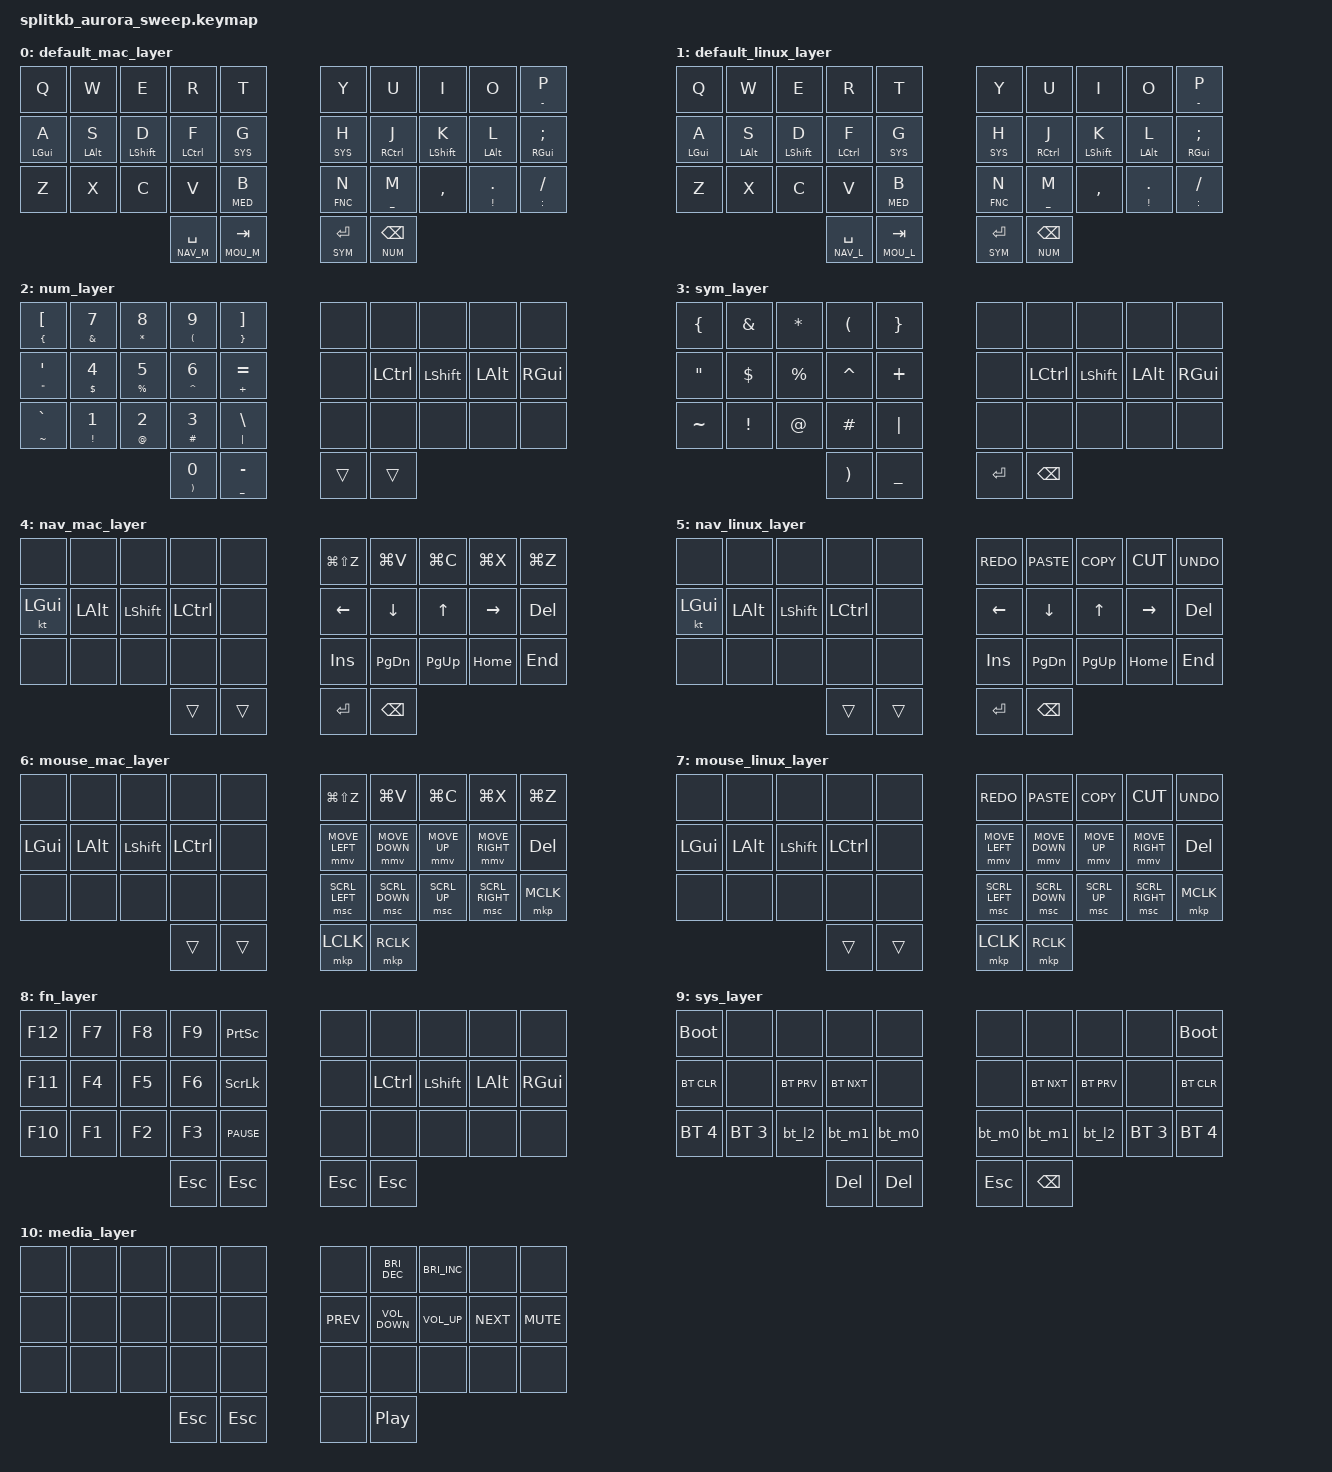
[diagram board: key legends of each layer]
/*
 * Copyright (c) 2022 The ZMK Contributors
 *
 * SPDX-License-Identifier: MIT
 */

#include <behaviors.dtsi>
#include <dt-bindings/zmk/bt.h>
#include <dt-bindings/zmk/keys.h>
#include <dt-bindings/zmk/outputs.h>

#define ZMK_POINTING_DEFAULT_MOVE_VAL 5000

#include <dt-bindings/zmk/pointing.h>

#define DEF_M 0
#define DEF_L 1
#define NUM   2
#define SYM   3
#define NAV_M 4
#define NAV_L 5
#define MOU_M 6
#define MOU_L 7
#define FNC   8
#define SYS   9
#define MED   10

&mt {
    flavor = "tap-preferred";
    quick-tap-ms = <180>;
};

&lt { quick-tap-ms = <200>; };

&mmv {
    trigger-period-ms = <10>;
    acceleration-exponent = <2>;   // 0 uniform, 1 linear, 2 quadratic
    time-to-max-speed-ms = <800>;
    delay-ms = <0>;
};

&msc {
    acceleration-exponent = <1>;      // 0
    time-to-max-speed-ms = <40>;      // 500
    delay-ms = <0>;                   // 10
};

/ {
    macros {
        bt_m0: bt_m0 {
            compatible = "zmk,behavior-macro";
            #binding-cells = <0>;
            bindings = <&bt BT_SEL 0>, <&to DEF_M>;
        };
        bt_m1: bt_m1 {
            compatible = "zmk,behavior-macro";
            #binding-cells = <0>;
            bindings = <&bt BT_SEL 1>, <&to DEF_M>;
        };
        bt_l2: bt_l2 {
            compatible = "zmk,behavior-macro";
            #binding-cells = <0>;
            bindings = <&bt BT_SEL 2>, <&to DEF_L>;
        };
    };

    behaviors {
        lt_thumb: layer_tap_thumb {
            compatible = "zmk,behavior-hold-tap";
            label = "LAYER_TAP_THUMB";
            #binding-cells = <2>;
            flavor = "tap-preferred";
            tapping-term-ms = <200>;
            bindings = <&mo>, <&kp>;
        };
    };

    combos {
        compatible = "zmk,combos";

        combo_esc {
            timeout-ms = <50>;
            key-positions = <10 19>;
            bindings = <&kp ESC>;
        };

        esc_left {
            bindings = <&kp ESC>;
            key-positions = <1 2>;
            timeout-ms = <15>;
        };

        esc_right {
            bindings = <&kp ESC>;
            key-positions = <6 7>;
            timeout-ms = <15>;
        };

        colon {
            bindings = <&kp COLON>;
            key-positions = <7 8>;
            timeout-ms = <15>;
        };

        // Mac Combos
        copy_m {
            bindings = <&kp LG(C)>;
            key-positions = <21 22>;
            timeout-ms = <15>;
            layers = <DEF_M NAV_M MOU_M>;
        };
        paste_m {
            bindings = <&kp LG(V)>;
            key-positions = <22 23>;
            timeout-ms = <15>;
            layers = <DEF_M NAV_M MOU_M>;
        };
        cut_m {
            bindings = <&kp LG(X)>;
            key-positions = <20 21>;
            timeout-ms = <15>;
            layers = <DEF_M NAV_M MOU_M>;
        };

        // Linux Combos (Using dedicated K_ keycodes)
        copy_l {
            bindings = <&kp K_COPY>;
            key-positions = <21 22>;
            timeout-ms = <15>;
            layers = <DEF_L NAV_L MOU_L>;
        };
        paste_l {
            bindings = <&kp K_PASTE>;
            key-positions = <22 23>;
            timeout-ms = <15>;
            layers = <DEF_L NAV_L MOU_L>;
        };
        cut_l {
            bindings = <&kp K_CUT>;
            key-positions = <20 21>;
            timeout-ms = <15>;
            layers = <DEF_L NAV_L MOU_L>;
        };

        // Mac Language Switch (Ctrl+Shift+Space for Hammerspoon)
        lang_switch_mac {
            bindings = <&kp LC(LS(SPC))>;
            key-positions = <5 6>;
            timeout-ms = <15>;
            layers = <DEF_M NAV_M MOU_M>;
        };

        // Linux Language Switch (RCtrl+RShift)
        lang_switch_linux {
            bindings = <&kp RS(RCTRL)>;
            key-positions = <5 6>;
            timeout-ms = <15>;
            layers = <DEF_L NAV_L MOU_L>;
        };

        caps {
            bindings = <&kp CAPSLOCK>;
            key-positions = <12 17>;
        };
    };

    keymap {
        compatible = "zmk,keymap";

        default_mac_layer {
            bindings = <
&kp Q        &kp W           &kp E         &kp R        &kp T      &kp Y    &kp U             &kp I         &kp O                   &mt MINUS P
&mt LGUI A   &mt LEFT_ALT S  &mt LSHIFT D  &mt LCTRL F  &lt SYS G  &lt SYS H  &mt RCTRL J       &mt LSHIFT K  &mt LEFT_ALT L          &mt RGUI SEMICOLON
&kp Z        &kp X           &kp C         &kp V        &lt MED B  &lt FNC N  &mt UNDERSCORE M  &kp COMMA     &mt EXCLAMATION PERIOD  &mt COLON SLASH
&lt NAV_M SPACE  &lt_thumb MOU_M TAB                                                                              &lt SYM ENTER             &lt NUM BACKSPACE
            >;
        };

        default_linux_layer {
            bindings = <
&kp Q        &kp W           &kp E         &kp R        &kp T      &kp Y    &kp U             &kp I         &kp O                   &mt MINUS P
&mt LGUI A   &mt LEFT_ALT S  &mt LSHIFT D  &mt LCTRL F  &lt SYS G  &lt SYS H  &mt RCTRL J       &mt LSHIFT K  &mt LEFT_ALT L          &mt RGUI SEMICOLON
&kp Z        &kp X           &kp C         &kp V        &lt MED B  &lt FNC N  &mt UNDERSCORE M  &kp COMMA     &mt EXCLAMATION PERIOD  &mt COLON SLASH
&lt NAV_L SPACE  &lt_thumb MOU_L TAB                                                                              &lt SYM ENTER             &lt NUM BACKSPACE
            >;
        };

        num_layer {
            bindings = <
&mt LEFT_BRACE LEFT_BRACKET     &mt AMPERSAND N7          &mt ASTERISK N8       &mt LEFT_PARENTHESIS N9  &mt RIGHT_BRACE RIGHT_BRACKET    &none  &none      &none       &none         &none
&mt DOUBLE_QUOTES SINGLE_QUOTE  &mt DOLLAR NUMBER_4       &mt PERCENT N5        &mt CARET NUMBER_6       &mt PLUS EQUAL                   &none  &kp LCTRL  &kp LSHIFT  &kp LEFT_ALT  &kp RGUI
&mt TILDE GRAVE                 &mt EXCLAMATION NUMBER_1  &mt AT_SIGN NUMBER_2  &mt HASH NUMBER_3        &mt PIPE BACKSLASH               &none  &none      &none       &none         &none
&mt RIGHT_PARENTHESIS N0        &mt UNDERSCORE MINUS                                                                                                                    &trans        &trans
            >;
        };

        sym_layer {
            bindings = <
&kp LEFT_BRACE         &kp AMPERSAND    &kp ASTERISK  &kp LEFT_PARENTHESIS  &kp RIGHT_BRACE    &none  &none      &none       &none      &none
&kp DOUBLE_QUOTES      &kp DOLLAR       &kp PERCENT   &kp CARET             &kp PLUS           &none  &kp LCTRL  &kp LSHIFT  &kp LALT   &kp RGUI
&kp TILDE              &kp EXCLAMATION  &kp AT_SIGN   &kp HASH              &kp PIPE           &none  &none      &none       &none      &none
&kp RIGHT_PARENTHESIS  &kp UNDERSCORE                                                                                        &kp ENTER  &kp BSPC
            >;
        };

        nav_mac_layer {
            bindings = <
&none     &none         &none       &none      &none    &kp LG(LS(Z))  &kp LG(V)      &kp LG(C)     &kp LG(X)  &kp LG(Z)
&kt LGUI  &kp LEFT_ALT  &kp LSHIFT  &kp LCTRL  &none    &kp LEFT       &kp DOWN       &kp UP_ARROW  &kp RIGHT  &kp DELETE
&none     &none         &none       &none      &none    &kp INSERT     &kp PAGE_DOWN  &kp PAGE_UP   &kp HOME   &kp END
&trans    &trans                                                                                    &kp ENTER  &kp BACKSPACE
            >;
        };

        nav_linux_layer {
            bindings = <
&none     &none         &none       &none      &none    &kp K_REDO  &kp K_PASTE    &kp K_COPY    &kp K_CUT  &kp K_UNDO
&kt LGUI  &kp LEFT_ALT  &kp LSHIFT  &kp LCTRL  &none    &kp LEFT    &kp DOWN       &kp UP_ARROW  &kp RIGHT  &kp DELETE
&none     &none         &none       &none      &none    &kp INSERT  &kp PAGE_DOWN  &kp PAGE_UP   &kp HOME   &kp END
&trans    &trans                                                                                    &kp ENTER  &kp BACKSPACE
            >;
        };

        mouse_mac_layer {
            bindings = <
&none     &none         &none       &none      &none    &kp LG(LS(Z))   &kp LG(V)       &kp LG(C)     &kp LG(X)        &kp LG(Z)
&kp LGUI  &kp LEFT_ALT  &kp LSHIFT  &kp LCTRL  &none    &mmv MOVE_LEFT  &mmv MOVE_DOWN  &mmv MOVE_UP  &mmv MOVE_RIGHT  &kp DELETE
&none     &none         &none       &none      &none    &msc SCRL_LEFT  &msc SCRL_DOWN  &msc SCRL_UP  &msc SCRL_RIGHT  &mkp MCLK
&trans    &trans                                                                                      &mkp LCLK        &mkp RCLK
            >;
        };

        mouse_linux_layer {
            bindings = <
&none     &none         &none       &none      &none    &kp K_REDO      &kp K_PASTE     &kp K_COPY    &kp K_CUT        &kp K_UNDO
&kp LGUI  &kp LEFT_ALT  &kp LSHIFT  &kp LCTRL  &none    &mmv MOVE_LEFT  &mmv MOVE_DOWN  &mmv MOVE_UP  &mmv MOVE_RIGHT  &kp DELETE
&none     &none         &none       &none      &none    &msc SCRL_LEFT  &msc SCRL_DOWN  &msc SCRL_UP  &msc SCRL_RIGHT  &mkp MCLK
&trans    &trans                                                                                      &mkp LCLK        &mkp RCLK
            >;
        };

        fn_layer {
            bindings = <
&kp F12     &kp F7      &kp F8  &kp F9  &kp PRINTSCREEN    &none  &none      &none       &none         &none
&kp F11     &kp F4      &kp F5  &kp F6  &kp SCROLLLOCK     &none  &kp LCTRL  &kp LSHIFT  &kp LEFT_ALT  &kp RGUI
&kp F10     &kp F1      &kp F2  &kp F3  &kp C_PAUSE        &none  &none      &none       &none         &none
&kp ESCAPE  &kp ESCAPE                                                                   &kp ESCAPE    &kp ESCAPE
            >;
        };

        sys_layer {
            bindings = <
&bootloader   &none         &none         &none         &none           &none         &none         &none         &none         &bootloader
&bt BT_CLR    &none         &bt BT_PRV    &bt BT_NXT    &none           &none         &bt BT_NXT    &bt BT_PRV    &none         &bt BT_CLR
&bt BT_SEL 4  &bt BT_SEL 3  &bt_l2        &bt_m1        &bt_m0          &bt_m0        &bt_m1        &bt_l2        &bt BT_SEL 3  &bt BT_SEL 4
&kp DELETE    &kp DEL                                                                                             &kp ESCAPE    &kp BACKSPACE
            >;
        };

        media_layer {
            bindings = <
&none       &none       &none  &none  &none    &none       &kp C_BRIGHTNESS_DEC  &kp C_BRIGHTNESS_INC  &none       &none
&none       &none       &none  &none  &none    &kp C_PREV  &kp C_VOLUME_DOWN     &kp C_VOLUME_UP       &kp C_NEXT  &kp K_MUTE
&none       &none       &none  &none  &none    &none       &none                 &none                 &none       &none
&kp ESCAPE  &kp ESCAPE                                                                                 &none       &kp C_PLAY_PAUSE
            >;
        };
    };
};
